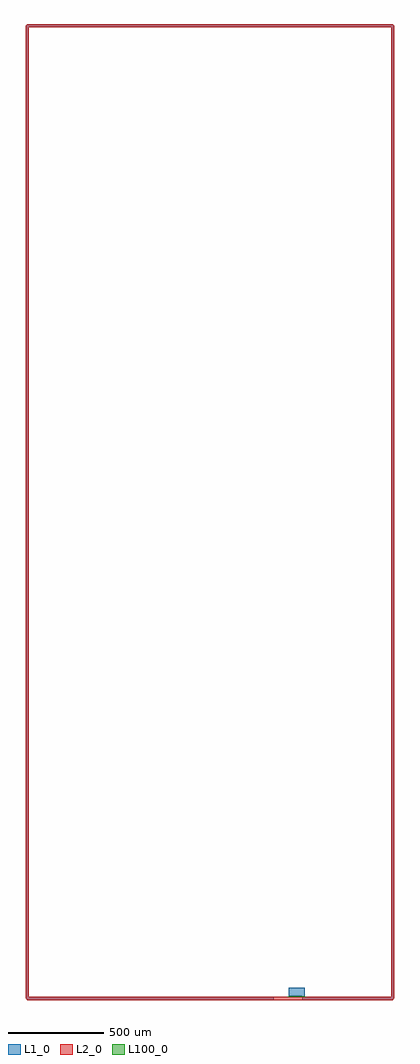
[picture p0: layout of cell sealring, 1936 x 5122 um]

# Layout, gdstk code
import gdstk
lib = gdstk.Library(unit=1e-6, precision=1e-09)
def R(c, l, rs):  # rectangles x0, y0, x1, y1
    for r in rs: c.add(gdstk.rectangle(r[:2], r[2:], *l))
def P(c, l, *ps):  # polygons
    for p in ps: c.add(gdstk.Polygon(p, *l))
L1_0 = (1, 0)
L2_0 = (2, 0)
L100_0 = (100, 0)

sealring = lib.new_cell('sealring')
R(sealring, L1_0, [(16,0,1302,16), (1451,0,1918,16), (0,16,16,5106), (1920,16,1936,5106), (1382,20,1465,65), (16,5106,1920,5122)])
P(sealring, L1_0, [(1920,0),(1920,16),(1936,16),(1936,9),(1927,0)],
  [(9,0),(0,9),(0,16),(16,16),(16,0)],
  [(0,5106),(0,5113),(9,5122),(16,5122),(16,5106)],
  [(1920,5106),(1920,5122),(1927,5122),(1936,5113),(1936,5106)])
R(sealring, L2_0, [(1920,16,1936,5106)])
P(sealring, L2_0, [(16,0),(16,16),(1936,16),(1936,9),(1927,0)],
  [(9,0),(0,9),(0,5106),(16,5106),(16,0)],
  [(0,5106),(0,5113),(9,5122),(1927,5122),(1936,5113),(1936,5106)])
P(sealring, L100_0, [(1372.834,15.999),(1381.999,20.001),(1465.001,20.001),(1474.166,15.999)])

lib.write_gds('sealring.gds')
